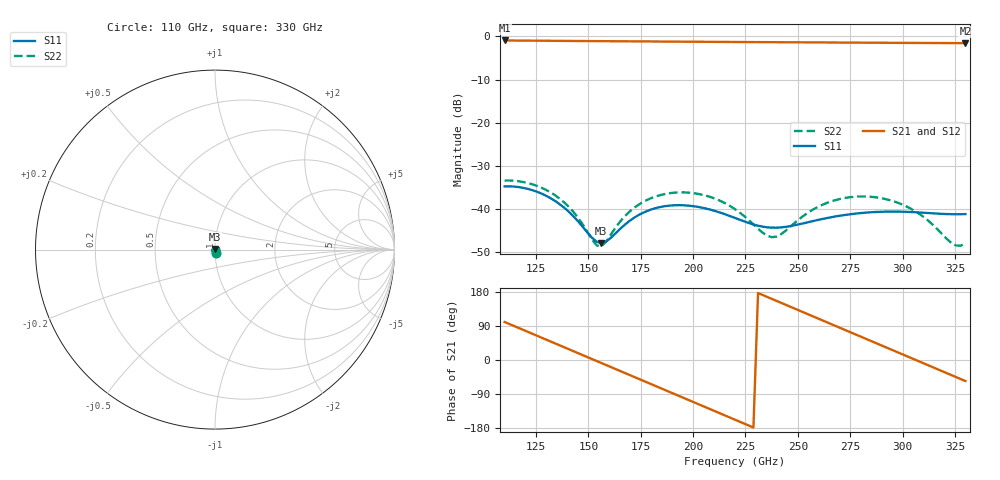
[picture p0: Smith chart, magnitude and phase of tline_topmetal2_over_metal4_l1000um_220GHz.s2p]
#  GHZ S DB R 50
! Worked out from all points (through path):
!   101 points, 110 GHz to 330 GHz, reference 50 ohm
!   highest |S21| = -0.93 dB at 110 GHz (marker M1); lowest = -1.6 dB at 330 GHz (marker M2)
!   group delay of S21, straight-line fit = 6.51 ps
!   lowest |S11| = -47.8 dB at 156.2 GHz (marker M3), VSWR 1.01, Z = 50.1 + j0.387 ohm
!   |S11| at or under -10 dB: start of sweep to end of sweep
!   |S22| runs from -48.6 to -33.4 dB; largest |S21 - S12| = 1.5e-14
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110  -34.71 -78.8  -0.93 100.3  -0.93 100.3  -33.37 -78.7
118.8  -35.04 -104.5  -0.96 79.7  -0.96 79.7  -33.69 -103.4
127.6  -36.38 -131.5  -0.99 59.1  -0.99 59.1  -35.02 -129.2
138.6  -39.71 -169.8  -1.03 33.3  -1.03 33.3  -38.48 -165.0
147.4  -44.13 147.7  -1.06 12.7  -1.06 12.7  -43.61 155.1
154  -47.54 94.7  -1.08 -2.8  -1.08 -2.8  -48.38 95.3
156.2  -47.85 72.3  -1.09 -8.0  -1.09 -8.0  -48.55 66.6
169.4  -42.79 -22.3  -1.13 -38.9  -1.13 -38.9  -40.66 -28.2
184.8  -39.44 -83.0  -1.18 -75.0  -1.18 -75.0  -36.67 -81.4
193.6  -39.06 -114.6  -1.21 -95.6  -1.21 -95.6  -36.10 -109.0
202.4  -39.47 -147.1  -1.23 -116.3  -1.23 -116.3  -36.45 -136.8
220  -42.02 138.1  -1.28 -157.5  -1.28 -157.5  -39.99 161.3
228.8  -43.52 92.1  -1.31 -178.1  -1.31 -178.1  -43.51 118.7
237.6  -44.27 40.7  -1.33 161.2  -1.33 161.2  -46.47 51.1
257.4  -42.73 -68.3  -1.38 114.8  -1.38 114.8  -40.03 -72.0
266.2  -41.83 -110.2  -1.40 94.1  -1.40 94.1  -38.14 -104.6
275  -41.16 -150.0  -1.43 73.5  -1.43 73.5  -37.21 -134.4
294.8  -40.55 123.1  -1.48 27.0  -1.48 27.0  -38.03 160.1
303.6  -40.64 84.1  -1.50 6.4  -1.50 6.4  -39.78 129.1
312.4  -40.88 43.8  -1.52 -14.2  -1.52 -14.2  -42.71 93.2
323.4  -41.16 -9.1  -1.54 -40.1  -1.54 -40.1  -47.84 23.1
330  -41.13 -41.8  -1.56 -55.5  -1.56 -55.5  -47.91 -39.2
